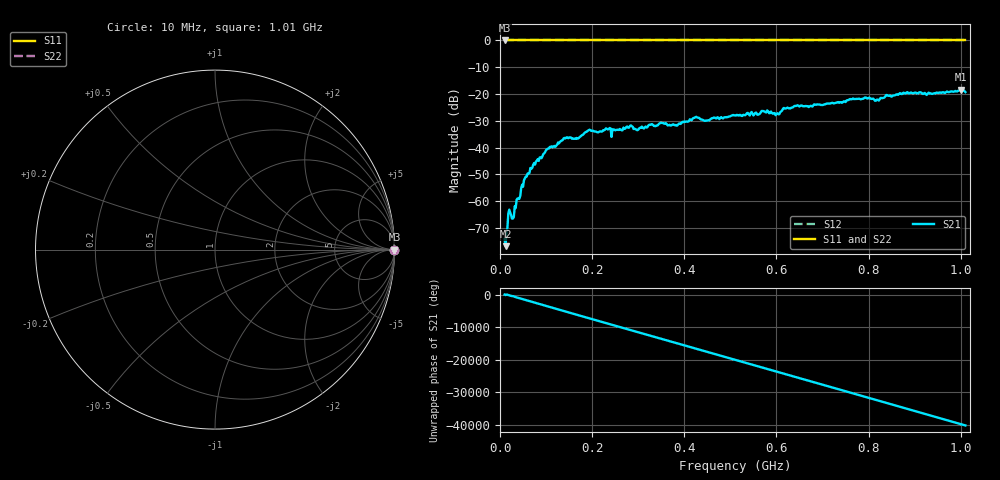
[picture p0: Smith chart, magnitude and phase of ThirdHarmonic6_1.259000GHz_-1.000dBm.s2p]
! 8/16/2025 1:31:45 PM
! C:\ANRITSUVNA\TEMP\TEMP.S2P
! CHANNEL.1
! TR.MEASUREMENT
! RAW.DATA
! RF.CORRECTION.OFF
! AVERAGING.OFF
! IF.BANDWIDTH: 5KHZ
! SWEEPTYPE:  FREQ.SWEEP(Linear)
! Reference Plane Port Info
! PORT:  PORT1  PORT2
! DISTANCE:  0  m  0  m
! TIME:  0  s  0  s
! PHASE.OFFSET:  0  deg.  0  deg.
! LOSS:  0  dB  0  dB
! REF.LOSS:  0  dB  0  dB
! REF.FREQ:  0  Hz  0  Hz
! Power Info
! POWER:  -20  dBm  -20  dBm
! EFF.POWER:  -20  dBm  -20  dBm
! SOURCE.ATTEN:  0  dB  0  dB
! TEST.ATTEN:  0  dB  0  dB
# GHZ S RI R 50.0
! FREQ.GHZ  S11RE  S11IM  S21RE  S21IM  S12RE  S12IM  S22RE  S22IM
!; PortSelection: Port_12
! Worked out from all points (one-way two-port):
!   501 points, 10 MHz to 1.01 GHz, reference 50 ohm
!   highest |S21| = -18.42 dB at 1 GHz (marker M1); lowest = -76.8 dB at 12 MHz (marker M2)
!   lowest |S11| = 0.0 dB at 10 MHz (marker M3)
!   |S11| at or under -10 dB: nowhere
!   |S22| runs from 0.0 to 0.0 dB; largest |S21 - S12| = 1.1
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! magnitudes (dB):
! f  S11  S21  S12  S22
! 10 MHz  0.0  -74.0  0.0  0.0
! 12 MHz  0.0  -76.8  0.0  0.0
! 20 MHz  0.0  -63.1  0.0  0.0
! 30 MHz  0.0  -65.9  0.0  0.0
! 50 MHz  0.0  -54.6  0.0  0.0
! 70 MHz  0.0  -47.6  0.0  0.0
! 106 MHz  0.0  -40.3  0.0  0.0
! 142 MHz  0.0  -36.5  0.0  0.0
! 178 MHz  0.0  -35.3  0.0  0.0
! 194 MHz  0.0  -33.3  0.0  0.0
! 246 MHz  0.0  -33.4  0.0  0.0
! 284 MHz  0.0  -31.7  0.0  0.0
! 298 MHz  0.0  -33.5  0.0  0.0
! 344 MHz  0.0  -31.3  0.0  0.0
! 510 MHz  0.0  -27.9  0.0  0.0
! 570 MHz  0.0  -26.3  0.0  0.0
! 602 MHz  0.0  -27.2  0.0  0.0
! 620 MHz  0.0  -25.4  0.0  0.0
! 678 MHz  0.0  -24.7  0.0  0.0
! 844 MHz  0.0  -20.6  0.0  0.0
! 1 GHz  0.0  -18.4  0.0  0.0
! 1.01 GHz  0.0  -19.3  0.0  0.0
